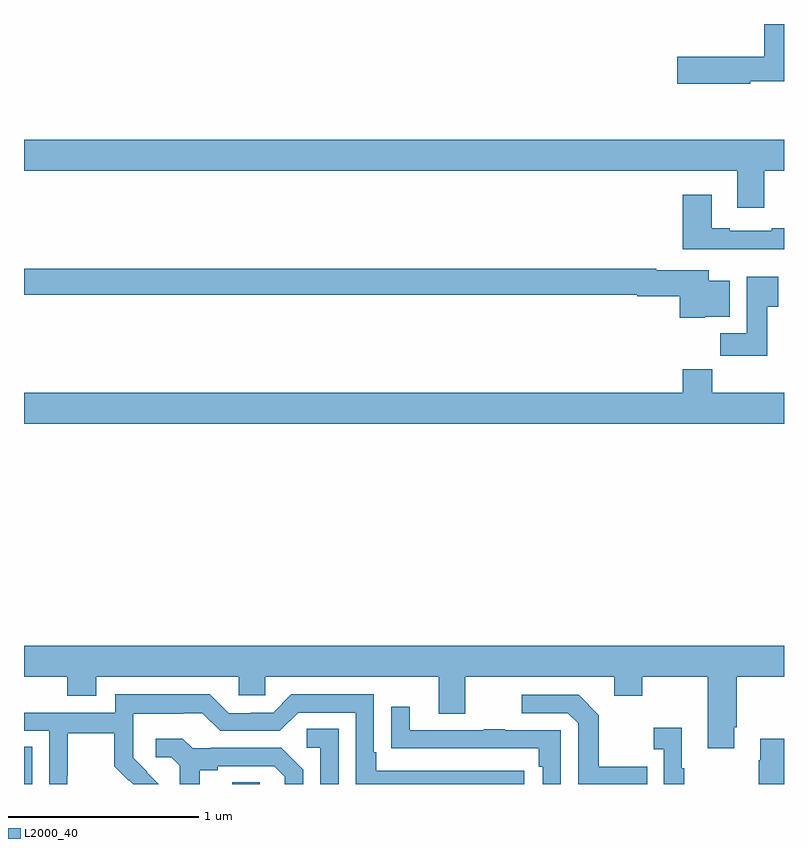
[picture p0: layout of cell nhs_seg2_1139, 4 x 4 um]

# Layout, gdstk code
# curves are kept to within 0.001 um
import gdstk
lib = gdstk.Library(unit=1e-6, precision=1e-09)
def R(c, l, rs):  # rectangles x0, y0, x1, y1
    for r in rs: c.add(gdstk.rectangle(r[:2], r[2:], *l))
def P(c, l, *ps):  # polygons
    for p in ps: c.add(gdstk.Polygon(p, *l))
L2000_40 = (2000, 40)

nhs_seg2_1139 = lib.new_cell('nhs_seg2_1139')
R(nhs_seg2_1139, L2000_40, [(171,585.8,171.043,585.995), (172.097,585.8,172.242,585.809)])
P(nhs_seg2_1139, L2000_40, [(174.822,589.498),(175,589.498),(175,589.8),(174.896,589.8),(174.896,589.628),(174.438,589.628),(174.438,589.486),(174.822,589.486)],
  [(174.895,589.028),(175,589.028),(175,589.192),(171,589.192),(171,589.028),(174.755,589.028),(174.755,588.834),(174.895,588.834)],
  [(175,588.724),(174.935,588.724),(174.935,588.711),(174.715,588.711),(174.715,588.724),(174.619,588.724),(174.619,588.901),(174.467,588.901),(174.467,588.614),(175,588.614)],
  [(174.582,588.26),(174.715,588.26),(174.715,588.448),(174.604,588.448),(174.604,588.505),(174.328,588.505),(174.328,588.512),(171,588.512),(171,588.376),(174.228,588.376),(174.228,588.368),(174.452,588.368),(174.452,588.254),(174.582,588.254)],
  [(174.913,588.313),(174.97,588.313),(174.97,588.469),(174.803,588.469),(174.803,588.172),(174.664,588.172),(174.664,588.054),(174.913,588.054)],
  [(175,587.86),(174.623,587.86),(174.623,587.984),(174.467,587.984),(174.467,587.86),(171,587.86),(171,587.696),(175,587.696)],
  [(174.739,586.099),(174.752,586.099),(174.752,586.364),(175,586.364),(175,586.528),(171,586.528),(171,586.364),(171.227,586.364),(171.227,586.265),(171.379,586.265),(171.379,586.364),(172.131,586.364),(172.131,586.266),(172.269,586.266),(172.269,586.364),(173.183,586.364),(173.183,586.17),(173.323,586.17),(173.323,586.364),(174.107,586.364),(174.107,586.265),(174.255,586.265),(174.255,586.364),(174.599,586.364),(174.599,585.987),(174.739,585.987)],
  [(171.228,585.844),(171.231,585.844),(171.231,586.068),(171.475,586.068),(171.475,585.893),(171.552,585.816),(171.555,585.819),(171.574,585.8),(171.71,585.8),(171.574,585.938),(171.574,586.035),(171.576,586.035),(171.576,586.169),(171.839,586.169),(171.839,586.173),(171.939,586.173),(172.032,586.08),(172.347,586.08),(172.443,586.176),(172.746,586.176),(172.746,585.8),(173.632,585.8),(173.632,585.87),(172.855,585.87),(172.855,585.967),(172.842,585.967),(172.842,586.272),(172.407,586.272),(172.311,586.176),(172.193,586.176),(172.193,586.173),(172.077,586.173),(171.977,586.273),(171.48,586.273),(171.48,586.176),(171,586.176),(171,586.08),(171.132,586.08),(171.132,585.8),(171.228,585.8)],
  [(174.281,585.891),(174.025,585.891),(174.025,586.163),(173.919,586.269),(173.619,586.269),(173.619,586.173),(173.862,586.173),(173.916,586.119),(173.916,585.8),(174.281,585.8)],
  [(173.826,586.083),(173.531,586.083),(173.531,586.088),(173.419,586.088),(173.419,586.083),(173.029,586.083),(173.029,586.207),(172.933,586.207),(172.933,585.988),(173.035,585.988),(173.035,585.987),(173.71,585.987),(173.71,585.89),(173.73,585.89),(173.73,585.8),(173.826,585.8)],
  [(174.475,585.883),(174.463,585.883),(174.463,586.096),(174.315,586.096),(174.315,585.983),(174.366,585.983),(174.366,585.8),(174.475,585.8)],
  [(172.656,586.091),(172.488,586.091),(172.488,585.99),(172.56,585.99),(172.56,585.8),(172.656,585.8)],
  [(175,586.039),(174.875,586.039),(174.875,585.926),(174.868,585.926),(174.868,585.8),(175,585.8)],
  [(171.925,585.872),(172.021,585.872),(172.021,585.894),(172.316,585.894),(172.373,585.837),(172.373,585.8),(172.47,585.8),(172.47,585.874),(172.354,585.99),(171.982,585.99),(171.982,585.987),(171.888,585.987),(171.836,586.039),(171.693,586.039),(171.693,585.942),(171.774,585.942),(171.821,585.895),(171.821,585.8),(171.925,585.8)])

lib.write_gds('nhs_seg2_1139.gds')
